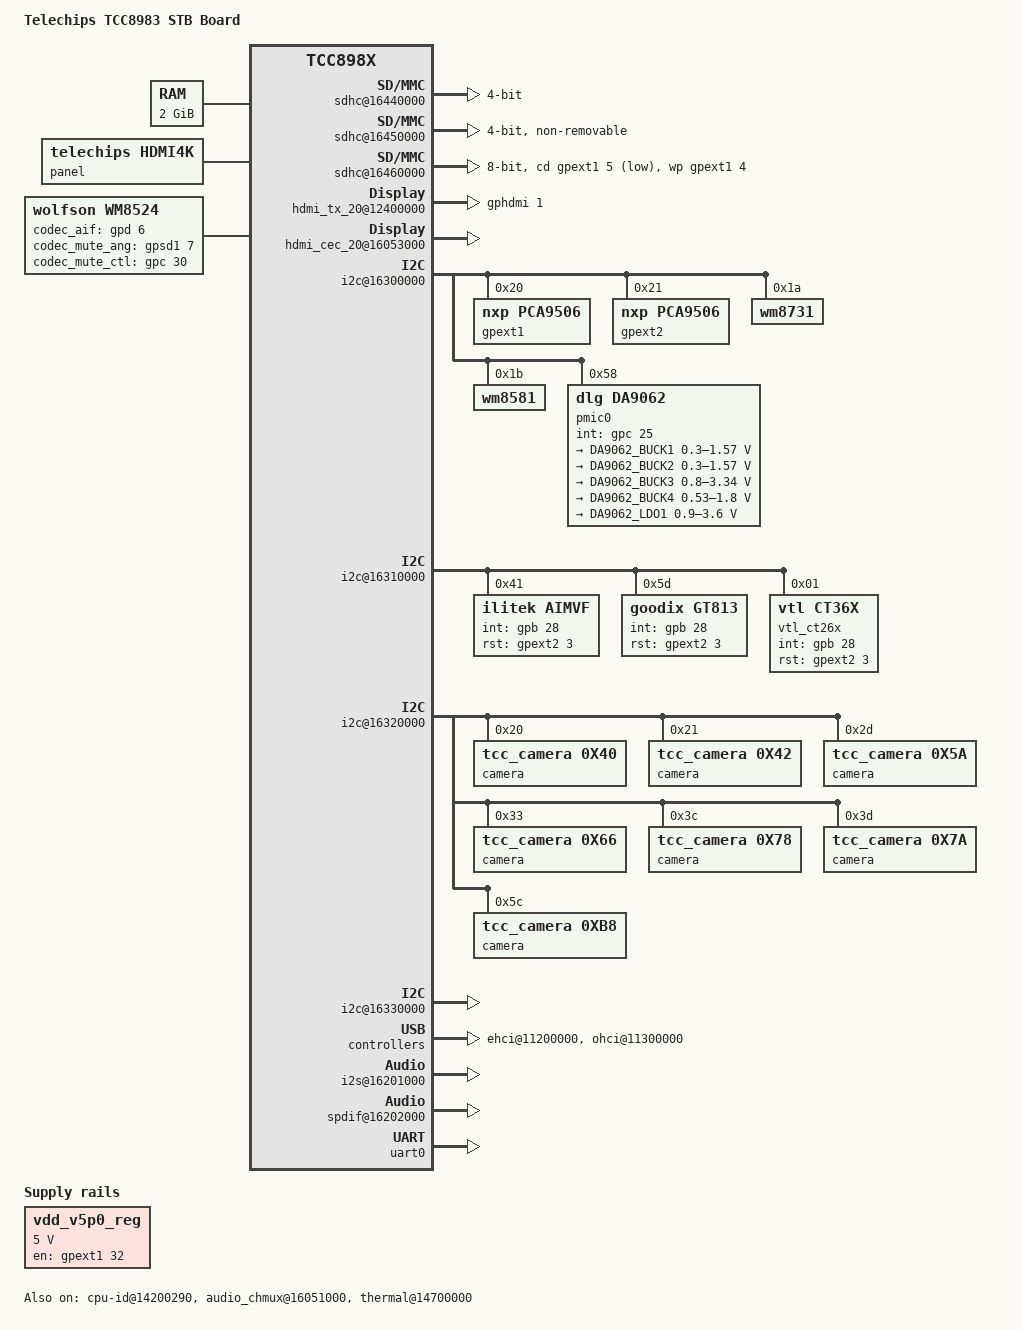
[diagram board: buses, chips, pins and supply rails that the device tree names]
/*
 * Device tree for Telechips TCC8983 STB board
 *
 * Copyright (C) 2016 Telechips Inc. - http://www.telechips.com
 *
 * This file is dual-licensed: you can use it either under the terms
 * of the GPL or the X11 license, at your option. Note that this dual
 * licensing only applies to this file, and not this project as a
 * whole.
 *
 *  a) This file is free software; you can redistribute it and/or
 *     modify it under the terms of the GNU General Public License as
 *     published by the Free Software Foundation; either version 2 of the
 *     License, or (at your option) any later version.
 *
 *     This file is distributed in the hope that it will be useful,
 *     but WITHOUT ANY WARRANTY; without even the implied warranty of
 *     MERCHANTABILITY or FITNESS FOR A PARTICULAR PURPOSE.  See the
 *     GNU General Public License for more details.
 *
 * Or, alternatively,
 *
 *  b) Permission is hereby granted, free of charge, to any person
 *     obtaining a copy of this software and associated documentation
 *     files (the "Software"), to deal in the Software without
 *     restriction, including without limitation the rights to use,
 *     copy, modify, merge, publish, distribute, sublicense, and/or
 *     sell copies of the Software, and to permit persons to whom the
 *     Software is furnished to do so, subject to the following
 *     conditions:
 *
 *     The above copyright notice and this permission notice shall be
 *     included in all copies or substantial portions of the Software.
 *
 *     THE SOFTWARE IS PROVIDED "AS IS", WITHOUT WARRANTY OF ANY KIND,
 *     EXPRESS OR IMPLIED, INCLUDING BUT NOT LIMITED TO THE WARRANTIES
 *     OF MERCHANTABILITY, FITNESS FOR A PARTICULAR PURPOSE AND
 *     NONINFRINGEMENT. IN NO EVENT SHALL THE AUTHORS OR COPYRIGHT
 *     HOLDERS BE LIABLE FOR ANY CLAIM, DAMAGES OR OTHER LIABILITY,
 *     WHETHER IN AN ACTION OF CONTRACT, TORT OR OTHERWISE, ARISING
 *     FROM, OUT OF OR IN CONNECTION WITH THE SOFTWARE OR THE USE OR
 *     OTHER DEALINGS IN THE SOFTWARE.
 */

/dts-v1/;

#include "tcc8983.dtsi"
#include "tcc898x-linux.dtsi"

/ {
	model = "Telechips TCC8983 STB Board";
	compatible = "telechips,tcc8983", "telechips,tcc898x";

	chosen {
	};

	memory@20000000 {
		device_type = "memory";
		reg = <0x20000000 0x80000000>;
	};

	cpu-id@14200290{
		compatible = "telechips,tcc-cpu-id";
		reg = <0x14200290 0x4 0x14200298 0x4 0x1420029C 0x4 0x14400014 0x4>;
		status = "okay";
	};

	panel {
		status = "okay";
		compatible = "telechips,hdmi4k";
	};

	tve@12200000 {
		status = "okay";
	};

	composite {
		status = "okay";
	};

	component {
		status = "okay";
		io_port_num = <0>;
	};

	output_starter {
		status = "okay";
	};

	overlaymixer:overlaymixer@1A100000 {
		status ="okay";
		contiguousSize = <0x1000000>;  /* 16MB (if > 512MB RAM) refer to Guide 27 Page */
		baseAddress = <0x20000000>;
		physSize = <0x80000000>; /*  DRAM size (0x40000000 = 1GB, 0x80000000 = 2GB) */
	};

	fbdisplay: fbdisplay@12000000 {
		telechips,fbdisplay_num = <0>;
		status ="okay";
	};

	tcc_vsync_drv {
		compatible = "telechips,tcc_vsync";
		display-vioc0 = <&vioc_display0>;
		display-vioc1 = <&vioc_display1>;
		status = "okay";
	};

	tcc_video_viqe {
		compatible = "telechips,tcc_viqe";
		status ="okay";
		tcc_viqe_viqe_common {
			board_num=<1>;
		};
	};

	scaler_drv@1 {
		rdmas = <&vioc_rdma16>;
		scalers = <&vioc_sc1 17>;	/* id:1, path:17 */
		wmixs = <&vioc_wmix5 6>;	/* id:5, path:6 */
		wdmas = <&vioc_wdma6>;
		settop_support = <1>;
		status = "okay";
	};

	scaler_drv@3 {
		rdmas = <&vioc_rdma7>;
		scalers = <&vioc_sc3 7>;	/* id:3, path:7 */
		wmixs = <&vioc_wmix1 2>;	/* id:1, path:2 */
		wdmas = <&vioc_wdma1>;
		settop_support = <1>;
		status = "okay";
	};

	wmixer_drv@0 {
		status = "okay";
	};

	wmixer_drv@1 {
		status = "okay";
	};

	vout_drv@0 {
		status = "okay";
	};

	sdhc@16440000 { // Wi-Fi tcm3830
		status = "okay";
		controller-id = <0>;
		bus-width = <4>;
		max-frequency = <50000000>;
		pinctrl-names = "default", "active";
		pinctrl-0 = <&sd0_1_idle>;
		pinctrl-1 = <&sd0_1_clk &sd0_1_cmd &sd0_1_bus4>;
		cd-inverted;
		//wp-inverted;
		//non-removable;
		//broken-cd;
		keep-power-in-suspend;
		//enable-sdio-wakeup;
		//cap-power-off-card;
		cap-sdio-irq;
		cap2-no-sleep-cmd;
		cap-bus-width-test;

		//wp-gpios = <&gpb 7 0>;
		//cd-gpios = <&gpext1 5 0>;
		//vctrl-gpio = <&gpsd 10 0>;
		//pwr-gpio = <&gpext2 7 0>;

		//cd-polling;
		wifi-polling;

		/* High-speed SDR */
		cap-sd-highspeed;
		cap-mmc-highspeed;

		/* High-speed DDR(emmc & SD3.0 DDR50) */
		//cap-1-8V-ddr;
		//cap-uhs-ddr50;

		/* SD3.0 Common */
		//cap-vdd-165-195;

		/* SD3.0 SDR12 */
		//cap-uhs-sdr12;

		/* SD3.0 SDR25 */
		//cap-uhs-sdr25;
		//cap-uhs-driver_type_a;

		/* SD3.0 SDR50 */
		//cap-uhs-sdr50;
		//cap-uhs-driver_type_c;

		/* SD3.0 SDR104 */
		//cap-uhs-sdr104;
		//cap-uhs-driver_type_d;
		//cap-uhs-cmd23;
		cap-adma;

		/* eMMC HS200 */
		//mmc-hs200-1_8v;
		//cap-uhs-driver_type_d;
		//cap-uhs-cmd23;
		//cap-adma;
	};

	sdhc@16450000 { // eMMC Boot
		status = "okay";
		controller-id = <1>;
		bus-width = <4>;
		max-frequency = <200000000>;
		pinctrl-names = "default", "active";
		pinctrl-0 = <&sd1_1_idle>;
		pinctrl-1 = <&sd1_1_clk &sd1_1_cmd &sd1_1_bus8>;
		//cd-inverted;
		//wp-inverted;
		non-removable;
		//broken-cd;
		//keep-power-in-suspend;
		//enable-sdio-wakeup;
		//cap-power-off-card;
		cap-sdio-irq;
		cap2-no-sleep-cmd;
		cap-bus-width-test;

		//wp-gpios = <&gpb 7 0>;
		//cd-gpios = <&gpext1 5 0>;
		//vctrl-gpio = <&gpa 5 0>;
		//pwr-gpio = <&gpext2 7 0>;
		emmc-rst-gpio = <&gpa 5 0>; // To do : add handling code

		cd-polling;
		//wifi-polling;

		/* High-speed SDR */
		cap-sd-highspeed;
		cap-mmc-highspeed;

		/* High-speed DDR(emmc & SD3.0 DDR50) */
		//cap-1-8V-ddr;
		//cap-uhs-ddr50;

		/* emmc hs200 & SD3.0 Common */
		//cap-vdd-165-195;

		/* SD3.0 SDR12 */
		//cap-uhs-sdr12;

		/* SD3.0 SDR25 */
		//cap-uhs-sdr25;
		//cap-uhs-driver_type_a;

		/* SD3.0 SDR50 */
		//cap-uhs-sdr50;
		//cap-uhs-driver_type_c;

		/* SD3.0 SDR104 */
		//cap-uhs-sdr104;
		//cap-uhs-driver_type_d;
		//cap-uhs-cmd23;
		//cap-adma;

		/* eMMC HS200 */
		//mmc-hs200-1_8v;
		//cap-uhs-driver_type_d;
		//cap-uhs-cmd23;
		//cap-adma;
	};

	sdhc@16460000 { // SD Card
		status = "okay";
		controller-id = <2>;
		bus-width = <8>;
		max-frequency = <200000000>;
		pinctrl-names = "default", "active";
		pinctrl-0 = <&sd2_1_idle>;
		pinctrl-1 = <&sd2_1_clk &sd2_1_cmd &sd2_1_bus8>;
		cd-inverted;
		//wp-inverted;
		//non-removable;
		//broken-cd;
		//keep-power-in-suspend;
		//enable-sdio-wakeup;
		//cap-power-off-card;
		cap-sdio-irq;
		cap2-no-sleep-cmd;
		cap-bus-width-test;

		wp-gpios = <&gpext1 4 0>;
		cd-gpios = <&gpext1 5 0>;
		vctrl-gpio = <&gpsd0 10 0>;
		pwr-gpio = <&gpext2 7 0>;

		//cd-polling;
		//wifi-polling;

		/* High-speed SDR */
		cap-sd-highspeed;
		cap-mmc-highspeed;

		/* High-speed DDR(emmc & SD3.0 DDR50) */
		//cap-1-8V-ddr;
		//cap-uhs-ddr50;

		/* SD3.0 Common */
		//cap-vdd-165-195;

		/* SD3.0 SDR12 */
		//cap-uhs-sdr12;

		/* SD3.0 SDR25 */
		//cap-uhs-sdr25;
		//cap-uhs-driver_type_a;

		/* SD3.0 SDR50 */
		//cap-uhs-sdr50;
		//cap-uhs-driver_type_c;

		/* SD3.0 SDR104 */
		//cap-uhs-sdr104;
		//cap-uhs-driver_type_d;
		//cap-uhs-cmd23;
		//cap-adma;

		/* eMMC HS200 */
		//mmc-hs200-1_8v;
		//cap-uhs-driver_type_d;
		//cap-uhs-cmd23;
		//cap-adma;
	};

	hdmi_tx_20@12400000 {
		status = "okay";
		pinctrl-names = "default";
		pinctrl-0 = <&hdmi_hpd>;
		hdmi_i2c_mapping = <&i2c3>;
		hdmi_i2c_mapping_val = <0xC 0xF 0x0E>;
		verbose = <0>; // 0 disable, 1 basic, 2 io
		gpios = <&gphdmi 1 0>; // HPD for output starter
		hdmi_phy_type = <0>; // 0 8980, 1 8985_OTT
	};

	hdmi_cec_20@16053000 {
		status = "okay";
		pinctrl-names = "default";
		pinctrl-0 = <&hdmi_cec>;
	};

	i2c@16300000 {
		port-mux = <8>;
		status = "okay";
		pinctrl-names = "default";
		pinctrl-0 = <&i2c8_bus>;

		gpext1: pca950x@20 {
			compatible = "nxp,pca9506";
			reg = <0x20>;
			#gpio-cells = <2>;
		};
		gpext2: pca950x@21 {
			compatible = "nxp,pca9506";
			reg = <0x21>;
			#gpio-cells = <2>;
		};
		wm8731: wm8731@1a {
			compatible = "wm8731";
			reg = <0x1a>;
		};
		wm8581: wm8581@1b {
			compatible = "wm8581";
			reg = <0x1b>;
		};

		pmic0: da9062@58 {
			compatible = "dlg,da9062";
			reg = <0x58>;
			int-gpios = <&gpc 25 0>;

			onkey {
				compatible = "dlg,da9062-onkey";
				dlg,disable-key-power;
			};

			regulators {
				DA9062_BUCK1: buck1 {
					regulator-name = "vdd_cpu0";
					regulator-min-microvolt = <300000>;
					regulator-max-microvolt = <1570000>;
					regulator-min-microamp = <500000>;
					regulator-max-microamp = <2000000>;
					regulator-always-on;
				};
				DA9062_BUCK2: buck2 {
					regulator-name = "vdd_gv";
					regulator-min-microvolt = <300000>;
					regulator-max-microvolt = <1570000>;
					regulator-min-microamp = <500000>;
					regulator-max-microamp = <2000000>;
					regulator-always-on;
				};
				DA9062_BUCK3: buck3 {
					regulator-name = "vdd_core";
					regulator-min-microvolt = <800000>;
					regulator-max-microvolt = <3340000>;
					regulator-min-microamp = <500000>;
					regulator-max-microamp = <2000000>;
					regulator-always-on;
				};
				DA9062_BUCK4: buck4 {
					regulator-name = "vdd_cpu1";
					regulator-min-microvolt = <530000>;
					regulator-max-microvolt = <1800000>;
					regulator-min-microamp = <500000>;
					regulator-max-microamp = <2000000>;
					regulator-always-on;
				};
				DA9062_LDO1: ldo1 {
					regulator-name = "vdd_io";
					regulator-min-microvolt = <900000>;
					regulator-max-microvolt = <3600000>;
					regulator-always-on;
				};
			};
		};
	};

	i2c@16310000 {
		port-mux = <10>;
		status = "okay";
		pinctrl-names = "default";
		pinctrl-0 = <&i2c10_bus>;

		ilitek@41 {
			compatible = "ilitek,aimvF";
			reg = <0x41>;
			int-gpios = <&gpb 28 0>;
			rst-gpios = <&gpext2 3 0>;
		};
		gt813@5d {
			compatible = "goodix,gt813";
			reg = <0x5d>;
			int-gpios = <&gpb 28 0>;
			rst-gpios = <&gpext2 3 0>;
		};
		vtl_ct26x@01 {
			compatible = "vtl,ct36x";
			reg = <0x01>;
			int-gpios = <&gpb 28 0>;
			rst-gpios = <&gpext2 3 0>;
		};
	};

	i2c@16320000 {
		port-mux = <11>;
		status = "okay";
		pinctrl-names = "default";
		pinctrl-0 = <&i2c11_bus>;

		camera@40 {
			compatible = "tcc_camera,0x40";
			reg = <0x20>;
		};
		camera@42 {
			compatible = "tcc_camera,0x42";
			reg = <0x21>;
		};
		camera@5A {
			compatible = "tcc_camera,0x5A";
			reg = <0x2D>;
		};
		camera@66 {
			compatible = "tcc_camera,0x66";
			reg = <0x33>;
		};
		camera@78 {
			compatible = "tcc_camera,0x78";
			reg = <0x3C>;
		};
		camera@7A {
			compatible = "tcc_camera,0x7A";
			reg = <0x3D>;
		};
		camera@B8 {
			compatible = "tcc_camera,0xB8";
			reg = <0x5C>;
		};
	};

	i2c@16330000 {
		port-mux = <14>;
		status = "okay";
		pinctrl-names = "default";
		pinctrl-0 = <&i2c14_bus>;
	};

	/* USB 3.0 DRD */
	dwc3@11900000 {
//		status = "okay";
		usb3en-ctrl-able;
		usb3en-gpio = <&gpext1 33 0>;
		vbus-source-ctrl;
		vbus-ctrl-able;
		vbus-gpio = <&gpext2 35 0>;
		//pinctrl-names = "default";
		vdd_dwc-supply = <&vdd_v5p0_reg>;
	};

	/* USB 2.0 HOST */
	ehci_phy@111A0010 {
		status = "okay";
		vbus-ctrl-able;
		vbus-gpio = <&gpext2 36 0>;
	};

	mux_host_phy@111A00DC {
		//status = "okay";
		vbus-ctrl-able;
		vbus-gpio = <&gpext2 36 0>;
	};

	dwc_otg_phy@111A0100 {
		//status = "okay";
		vbus-ctrl-able;
		vbus-gpio = <&gpext2 36 0>;
	};

	ehci@11200000 {
		status = "okay";
		hcd_id = <0>;
		phy-type = <1>;	    //pico phy = 1, nano phy = 0
		hosten-ctrl-able;
		hosten-gpio = <&gpext1 34 0>;
		vbus-ctrl-able;
		vbus-gpio = <&gpext2 36 0>;
		vbus-source-ctrl;
		//pinctrl-names = "default";
		vdd_ehci-supply = <&vdd_v5p0_reg>;

		//sq_level_ctl;
		TXVRT = <0xB>;
		TXRISET = <0x3>;
		TXAT = <0x1>;
	};

	ohci@11300000 {
		status = "okay";
		hosten-ctrl-able;
		hosten-gpio = <&gpext1 34 0>;
		vbus-ctrl-able;
		vbus-gpio = <&gpext2 36 0>;
		vbus-source-ctrl;
		vdd_ohci-supply = <&vdd_v5p0_reg>;
	};

	dwc_otg@11080000 {
//		status = "okay";
		phy-type = <1>;     //pico phy = 1, nano phy = 0

		vbus-ctrl-able;
		vbus-gpio = <&gpext2 36 0>;
	};

	audio_chmux@16051000{
		compatible = "telechips,audio-chmux-898x";
		dai = <99 1>; // i2s0(x) i2s1(x)
		cdif = <99 1>; // cdif0(x) cdif1(x)
		spdif = <99 1>; // spdif0(x) spdif1(x)
		status = "okay";
	};

	i2s@16101000 {
		pinctrl-names = "default";
		pinctrl-0 = <&m0dai1_clks &m0dai1_d0>;
		status = "disable";
	};

	i2s@16201000 {
		pinctrl-names = "default";
		pinctrl-0 = <&m1dai1_clks &m1dai1_d0>;
		status = "okay";
	};

	spdif@16102000 {
		pinctrl-names = "default";
		pinctrl-0 = <&m0dai1_spdif_tx>;
		status = "disable";
	};

	spdif@16202000 {
		pinctrl-names = "default";
		pinctrl-0 = <&m1dai1_spdif_tx>;
		status = "okay";
	};

	adma@16100000 {
		status = "disable";
	};

	adma@16200000 {
		status = "okay";
	};

	wm8524: wm8524@0 {
		compatible = "wolfson,wm8524";
		status = "okay";

		codec_aif-gpios = <&gpd 6 0>;
		codec_mute_ang-gpios = <&gpsd1 7 0>;
		codec_mute_ctl-gpios = <&gpc 30 0>;
		/* value to enable mute*/
		codec_mute_ang-mute_value = <0>;
	};

	sound@0 {
		compatible = "telechips,snd-card";
		card-name = "TCC8980 STB Card";
		status = "okay";

		telechips,dai-link@0 {
			stream-name="I2S_1";

			codec,format = "i2s"; // i2s, left_j, right_j
			codec,continuous-clock;

			mclk_div = <16>; // 4,6,8,16
			bclk_ratio = <64>; // 32,48,64fs
			pcm = <&adma1>;
			dai = <&i2s1>;
			codec = <&wm8524>;
			codec,dai-name = "wm8524-hifi";
		};

		telechips,dai-link@1 {
			stream-name="SPDIF_1";

			pcm = <&adma1>;
			dai = <&spdif1>;
		};
	};

	tcc_pm {
		wakeup,powerkey = <PMU_WKUP_GP_C27 WAKEUP_ACT_LO>;
	};

	regulators {
		compatible = "simple-bus";
		#address-cells = <1>;
		#size-cells = <0>;

		vdd_v5p0_reg: regulator@0 {
			compatible = "regulator-fixed";
			reg = <0>;
			regulator-name = "vdd_v5p0";
			regulator-min-microvolt = <5000000>;
			regulator-max-microvolt = <5000000>;
			gpio = <&gpext1 32 0>;
			enable-active-high;
		};
	};

	thermal@14700000 {
		compatible = "telechips,tcc-thermal";
		reg = <0x14700000 0x4 0x14700030 0x4 0x14200290 0x4 0x1420029C 0x4>;
		clocks = <&clk_isoip_top ISOIP_TOP_TSEN>;
		status = "okay";

		throttle_count = <5>;
		throttle_active_count = <0>;
		throttle_passive_count = <5>;

		cal_type = "TYPE_ONE_POINT_TRIMMING";
		polling-delay-idle = <0>;
		polling-delay-passive = <0>;

		throttle_table {
			throttle_tab_0 {
				temp = <75>;
				freq_max_cluster0 = <1000000>;
				freq_max_cluster1 = <900000>;
			};
			throttle_tab_1 {
				temp = <80>;
				freq_max_cluster0 = <900000>;
				freq_max_cluster1 = <810000>;
			};
			throttle_tab_2 {
				temp = <85>;
				freq_max_cluster0 = <800000>;
				freq_max_cluster1 = <720000>;
			};
			throttle_tab_3 {
				temp = <90>;
				freq_max_cluster0 = <700000>;
				freq_max_cluster1 = <630000>;
			};
			throttle_tab_4 {
				temp = <95>;
				freq_max_cluster0 = <600000>;
				freq_max_cluster1 = <540000>;
			};
		};
	};

};

&uart0 {
	pinctrl-names = "default";
	pinctrl-0 = <&uart13_data>;
	dma-names = "tx";
	status = "okay";
};
